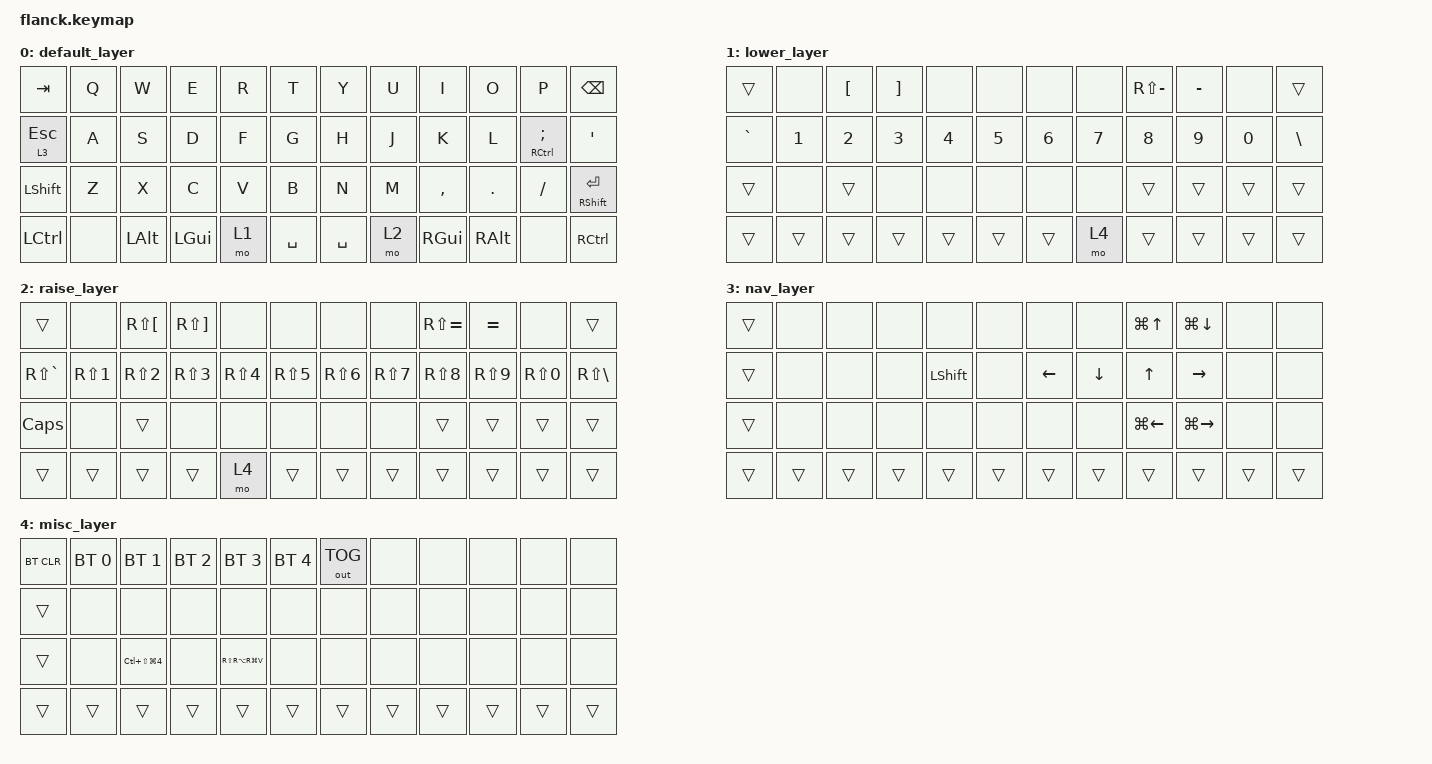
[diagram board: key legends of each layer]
#include <behaviors.dtsi>
#include <dt-bindings/zmk/keys.h>
#include <dt-bindings/zmk/bt.h>
#include <dt-bindings/zmk/outputs.h>

#define SCROT LC(LS(LG(N4)))
#define P_TEXT RS(RA(RG(V)))

/ {
    keymap {
        compatible = "zmk,keymap";

        default_layer {
            bindings = <
   &kp TAB    &kp   Q &kp W  &kp E    &kp R &kp T     &kp Y     &kp U &kp I     &kp O    &kp P          &kp BACKSPACE
   &lt 3 ESC  &kp   A &kp S  &kp D    &kp F &kp G     &kp H     &kp J &kp K     &kp L    &mt RCTRL SEMI &kp SINGLE_QUOTE
   &kp LSHIFT &kp   Z &kp X  &kp C    &kp V &kp B     &kp N     &kp M &kp COMMA &kp DOT  &kp FSLH       &mt RSHIFT RET
   &kp LCTRL  &none &kp LALT &kp LGUI &mo 1 &kp SPACE &kp SPACE &mo 2 &kp RGUI  &kp RALT &none          &kp RCTRL
            >;
        };

        lower_layer {
            bindings = <
   &trans    &none     &kp LBKT  &kp RBKT  &none     &none     &none     &none     &kp RS(MINUS) &kp MINUS &none     &trans
   &kp GRAVE &kp N1    &kp N2    &kp N3    &kp N4    &kp N5    &kp N6    &kp N7    &kp N8        &kp N9    &kp N0    &kp BSLH
   &trans    &none     &trans    &none     &none     &none     &none     &none     &trans        &trans    &trans    &trans
   &trans    &trans    &trans    &trans    &trans    &trans    &trans    &mo 4     &trans        &trans    &trans    &trans
            >;
        };

        raise_layer {
            bindings = <
  &trans        &none         &kp RS(LBKT)  &kp RS(RBKT)  &none         &none         &none         &none         &kp RS(EQUAL) &kp EQUAL      &none         &trans
  &kp RS(GRAVE) &kp RS(N1)    &kp RS(N2)    &kp RS(N3)    &kp RS(N4)    &kp RS(N5)    &kp RS(N6)    &kp RS(N7)    &kp RS(N8)    &kp RS(N9)    &kp RS(N0)    &kp RS(BSLH)
  &kp CAPS      &none         &trans        &none         &none         &none         &none         &none         &trans        &trans        &trans        &trans
  &trans        &trans        &trans        &trans        &mo 4         &trans        &trans        &trans        &trans        &trans        &trans        &trans
           >;
        };

        nav_layer {
            bindings = <
  &trans &none  &none  &none  &none      &none  &none    &none    &kp LG(UP)   &kp LG(DOWN)  &none  &none
  &trans &none  &none  &none  &kp LSHIFT &none  &kp LEFT &kp DOWN &kp UP       &kp RIGHT     &none  &none
  &trans &none  &none  &none  &none      &none  &none    &none    &kp LG(LEFT) &kp LG(RIGHT) &none  &none
  &trans &trans &trans &trans &trans     &trans &trans   &trans   &trans       &trans        &trans &trans
           >;
        };

        misc_layer {
            bindings = <
  &bt BT_CLR &bt BT_SEL 0 &bt BT_SEL 1 &bt BT_SEL 2 &bt BT_SEL 3 &bt BT_SEL 4 &out OUT_TOG  &none  &none  &none  &none  &none
  &trans     &none        &none        &none        &none        &none        &none         &none  &none  &none  &none  &none
  &trans     &none        &kp SCROT    &none        &kp P_TEXT   &none        &none         &none  &none  &none  &none  &none
  &trans     &trans       &trans       &trans       &trans       &trans       &trans        &trans &trans &trans &trans &trans
           >;
        };
    };

};
